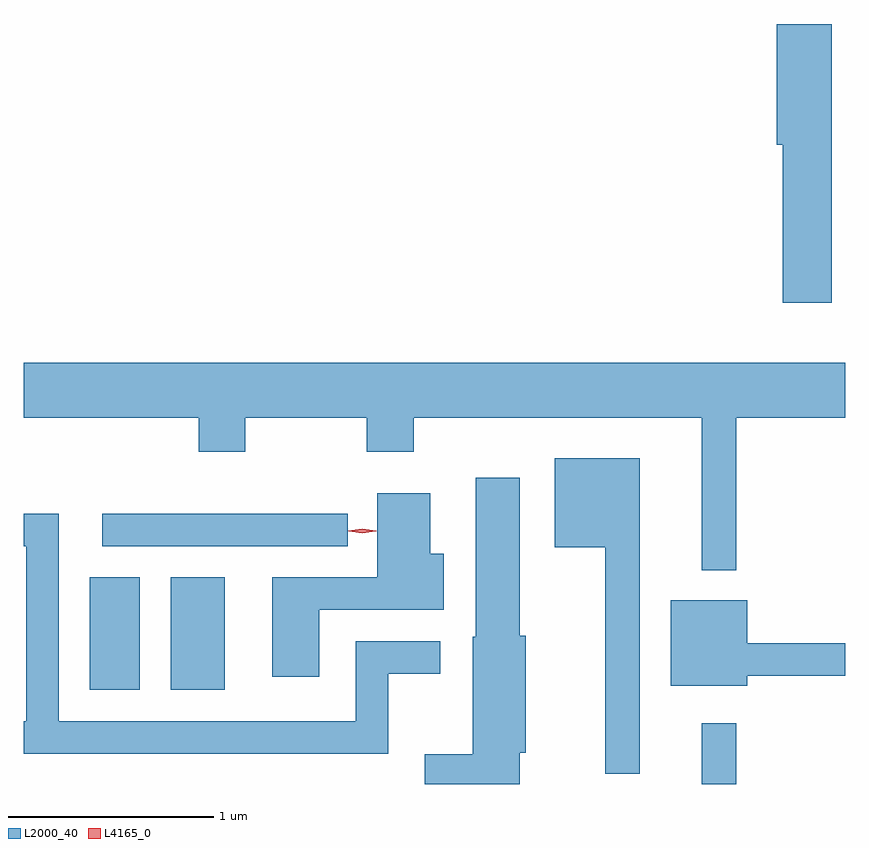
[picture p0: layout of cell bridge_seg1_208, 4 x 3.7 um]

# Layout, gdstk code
import gdstk
lib = gdstk.Library(unit=1e-6, precision=1e-09)
def R(c, l, rs):  # rectangles x0, y0, x1, y1
    for r in rs: c.add(gdstk.rectangle(r[:2], r[2:], *l))
def P(c, l, *ps):  # polygons
    for p in ps: c.add(gdstk.Polygon(p, *l))
L2000_40 = (2000, 40)
L4165_0 = (4165, 0)

bridge_seg1_208 = lib.new_cell('bridge_seg1_208')
R(bridge_seg1_208, L2000_40, [(825.031,926.653,825.199,926.948), (822.051,927.111,822.294,927.659), (822.446,927.111,822.709,927.659), (822.113,927.811,823.308,927.969)])
P(bridge_seg1_208, L2000_40, [(825.664,930.354),(825.396,930.354),(825.396,929.766),(825.426,929.766),(825.426,928.996),(825.664,928.996)],
  [(825.199,928.436),(825.73,928.436),(825.73,928.704),(821.73,928.704),(821.73,928.436),(822.581,928.436),(822.581,928.271),(822.809,928.271),(822.809,928.436),(823.401,928.436),(823.401,928.271),(823.629,928.271),(823.629,928.436),(825.031,928.436),(825.031,927.693),(825.199,927.693)],
  [(824.729,928.239),(824.316,928.239),(824.316,927.806),(824.561,927.806),(824.561,926.703),(824.729,926.703)],
  [(824.144,926.806),(824.174,926.806),(824.174,927.374),(824.144,927.374),(824.144,928.144),(823.931,928.144),(823.931,927.37),(823.916,927.37),(823.916,926.799),(823.683,926.799),(823.683,926.653),(824.144,926.653)],
  [(823.169,927.501),(823.774,927.501),(823.774,927.774),(823.709,927.774),(823.709,928.069),(823.451,928.069),(823.451,927.659),(822.941,927.659),(822.941,927.176),(823.169,927.176)],
  [(823.504,927.191),(823.758,927.191),(823.758,927.349),(823.346,927.349),(823.346,926.959),(821.899,926.959),(821.899,927.969),(821.73,927.969),(821.73,927.811),(821.741,927.811),(821.741,926.959),(821.73,926.959),(821.73,926.801),(823.504,926.801)],
  [(825.254,927.181),(825.73,927.181),(825.73,927.339),(825.254,927.339),(825.254,927.549),(824.881,927.549),(824.881,927.131),(825.254,927.131)])
P(bridge_seg1_208, L4165_0, [(823.378,927.874),(823.313,927.884),(823.312,927.884),(823.313,927.885),(823.378,927.894),(823.444,927.884),(823.444,927.884),(823.444,927.883)],
  [(823.378,927.876),(823.31,927.886),(823.309,927.887),(823.31,927.887),(823.378,927.896),(823.446,927.886),(823.447,927.886),(823.446,927.885)])

lib.write_gds('bridge_seg1_208.gds')
